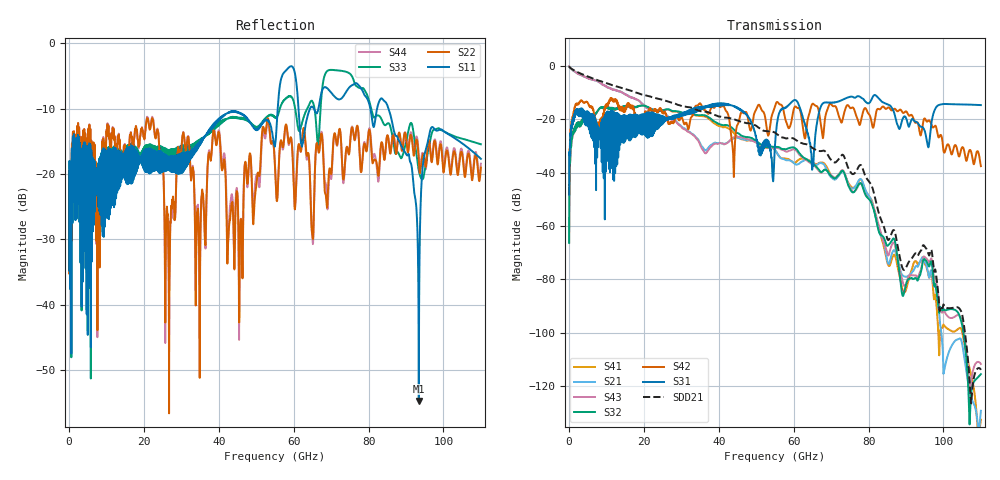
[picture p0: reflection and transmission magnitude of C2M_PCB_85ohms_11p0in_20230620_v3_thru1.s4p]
! Info: Touchstone file created by Circ.  Input file=C2M_PCB_85ohms_11p0in_20230620_v3.circ
# Hz S RI R 50
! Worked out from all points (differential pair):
!   11000 points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, 10 MHz to 110 GHz, reference 50 ohm
!   strongest paths, dB at 10 MHz, 27.51 GHz, 55.01 GHz, 82.51 GHz, 110 GHz:
!     S31: -48.3, -19.3, -29.7, -11.9, -14.7
!     S42: -48.2, -21.0, -15.0, -16.1, -37.6
!     S32: -66.3, -16.9, -30.3, -60.8, -115.5
!     S43: -0.1, -20.3, -30.7, -58.8, -111.7
!     S21: -0.1, -19.9, -31.4, -60.7, -129.2
!     S41: -66.3, -17.1, -31.5, -59.9, -132.5
!   taken as a pair (ports 3,1 in; 4,2 out), SDD21 dB: -0.1, -13.8, -25.0, -54.0, -113.9
!   lowest |S11| = -54.7 dB at 93.42 GHz (marker M1), VSWR 1.00, Z = 49.8 + j0.0201 ohm
!   |S11| at or under -10 dB: start of sweep to 55.73 GHz; 61.3 GHz to 64.34 GHz (3.038 GHz wide, 4.84 % of centre); 85.32 GHz to end of sweep (the widest 3 of 5)
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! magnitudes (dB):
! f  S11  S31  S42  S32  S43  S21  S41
! 10 MHz  -34.8  -48.3  -48.2  -66.3  -0.1  -0.1  -66.3
! 8.29 GHz  -17.5  -24.3  -20.3  -15.7  -6.4  -6.4  -15.8
! 36.15 GHz  -14.2  -15.8  -16.6  -18.5  -32.4  -31.4  -18.9
! 54.37 GHz  -14.2  -41.6  -17.7  -30.4  -30.7  -30.7  -30.8
! 73.09 GHz  -8.2  -12.7  -20.0  -39.3  -39.1  -39.5  -39.3
! 93.42 GHz  -54.7  -22.0  -22.9  -79.3  -78.4  -74.4  -74.0
! 110 GHz  -17.7  -14.7  -37.6  -115.5  -111.7  -129.2  -132.5
